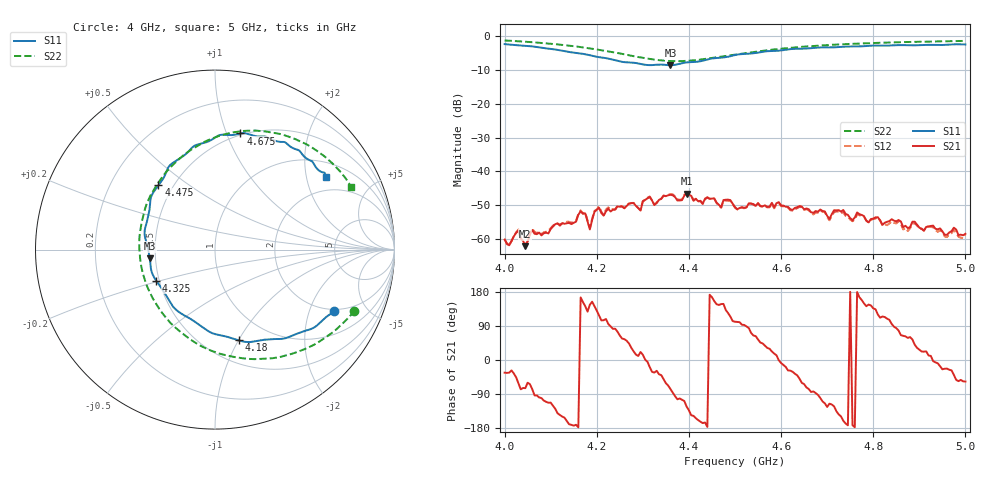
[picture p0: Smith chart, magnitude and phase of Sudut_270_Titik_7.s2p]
# Hz S RI R 50
! CMT, C1220, 16058040, 17.2.0/1
! Date: 15/08/2018 12:04:56
! Data: Format (Calibration Info)
! Freq  S11: Re/Im (F2)  S21: Re/Im (F2)  S12: Re/Im (F2)  S22: Re/Im (F2)
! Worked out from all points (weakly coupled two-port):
!   201 points, 4 GHz to 5 GHz, reference 50 ohm
!   highest |S21| = -46.51 dB at 4.395 GHz (marker M1); lowest = -62.0 dB at 4.045 GHz (marker M2)
!   lowest |S11| = -8.7 dB at 4.36 GHz (marker M3), VSWR 2.16, Z = 23.2 - j2.63 ohm
!   |S11| at or under -10 dB: nowhere
!   |S22| runs from -7.5 to -1.4 dB; largest |S21 - S12| = 0.00025
!   S11 on the Smith chart (normalised r, x): 4 GHz: 1.91, -2.99; 4.18 GHz: 0.72, -1.00; 4.325 GHz: 0.48, -0.19; 4.475 GHz: 0.42, +0.39; 4.675 GHz: 0.49, +1.12; 5 GHz: 1.47, +2.63
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4e9  0.6657 -0.3439  0.000827 -0.000547  0.000894 -0.000497  0.777 -0.3398
4.01e9  0.6478 -0.356  0.000685 -0.00045  0.000705 -0.000434  0.7588 -0.3628
4.03e9  0.6036 -0.39  0.000636 -0.00118  0.000752 -0.00118  0.7189 -0.4042
4.045e9  0.5691 -0.422  0.000216 -0.000766  0.000216 -0.000805  0.6859 -0.4355
4.06e9  0.5342 -0.4427  0.000308 -0.00134  0.000299 -0.00139  0.6504 -0.4652
4.17e9  0.1636 -0.5134  -0.00213 0.00109  -0.00217 0.00106  0.2828 -0.6074
4.18e9  0.1325 -0.5057  -0.00113 0.00147  -0.00119 0.00148  0.2411 -0.6095
4.185e9  0.116 -0.5009  -0.00116 0.000786  -0.00126 0.000772  0.2191 -0.6104
4.205e9  0.0397 -0.4797  -0.00133 0.0026  -0.00149 0.00268  0.1315 -0.6023
4.215e9  0.00165 -0.4711  -0.000581 0.00216  -0.000671 0.00219  0.0866 -0.5942
4.295e9  -0.2535 -0.2869  0.00248 0.000958  0.00254 0.00096  -0.2484 -0.4085
4.315e9  -0.3023 -0.2091  0.00397 -0.00136  0.00405 -0.00142  -0.3111 -0.3289
4.325e9  -0.3275 -0.1733  0.00269 -0.00176  0.00268 -0.00179  -0.3379 -0.2864
4.335e9  -0.3462 -0.1409  0.00303 -0.00232  0.00298 -0.00236  -0.3623 -0.2401
4.36e9  -0.3639 -0.0491  0.00102 -0.00444  0.00108 -0.00451  -0.4055 -0.1177
4.395e9  -0.3925 0.0904  -0.00257 -0.00397  -0.00267 -0.00398  -0.4215 0.0547
4.475e9  -0.3149 0.3584  -0.00322 0.00201  -0.00316 0.00206  -0.3041 0.3896
4.5e9  -0.2668 0.4429  -0.000572 0.00294  -0.000576 0.00287  -0.2412 0.4656
4.67e9  0.1317 0.6442  0.000303 -0.00245  0.000278 -0.00231  0.2377 0.6623
4.675e9  0.142 0.647  0.000133 -0.00262  0.000101 -0.00248  0.2503 0.6614
4.835e9  0.4374 0.5639  -0.00051 0.00179  -0.000435 0.00166  0.5717 0.5477
5e9  0.6207 0.4033  0.00066 -0.00101  0.000635 -0.000962  0.7582 0.3515
